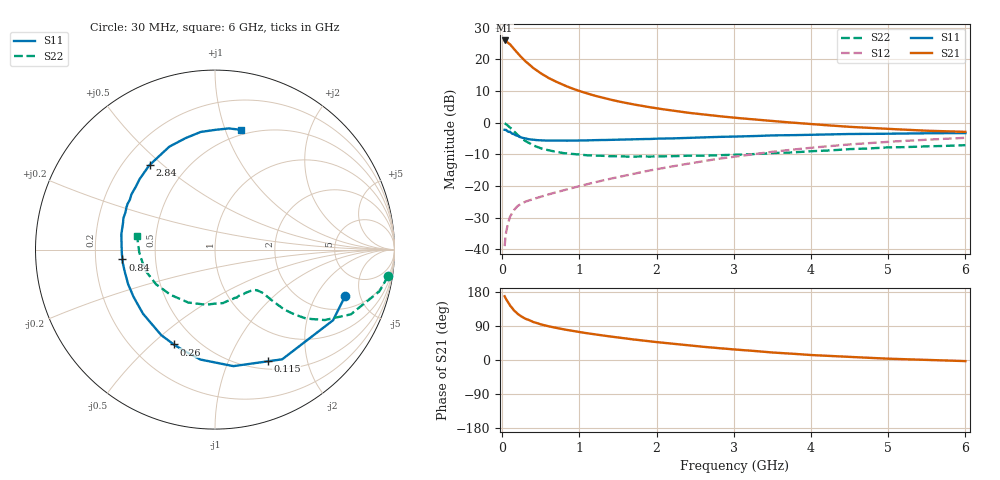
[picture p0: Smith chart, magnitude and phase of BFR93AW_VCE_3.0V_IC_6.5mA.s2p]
! Infineon Technologies  Discrete & RF Semiconductors
! BFR93AW
! VCE =  3.0 V,  IC =  6.5 mA
! Common Emitter S-Parameters:  Nov 2015
# GHz  S  MA  R  50
!  f  S11  S21  S12  S22
! GHz  MAG  ANG  MAG  ANG  MAG  ANG  MAG  ANG
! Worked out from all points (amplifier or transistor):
!   206 points, 30 MHz to 6 GHz, reference 50 ohm
!   highest |S21| = 25.9 dB at 30 MHz (marker M1)
!   |S21| within 3 dB of that: start of sweep to 162.9 MHz
!   unconditionally stable (mu >= 1): 867.4 MHz to 2.332 GHz
!   at 200 MHz: K = 0.37, MSG = 24.1 dB, |S12| = -26.3 dB
!   at 1.56 GHz: K = 1.08, MAG = 9.9 dB, |S12| = -16.9 dB
!   at 6 GHz: K = 0.94, MSG = 0.9 dB, |S12| = -4.8 dB
!   S11 on the Smith chart (normalised r, x): 30 MHz: 2.85, -3.63; 115 MHz: 0.59, -1.40; 260 MHz: 0.37, -0.59; 840 MHz: 0.32, -0.05; 2.84 GHz: 0.31, +0.46; 6 GHz: 0.45, +1.14
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0.03  0.7699 -19.7  19.79 168.2  0.0112 77.9  0.976 -8.7
0.05  0.7666 -30.9  19.39 160.2  0.0188 74.3  0.9444 -14.3
0.1  0.7168 -58.5  17.24 143.7  0.0326 63.0  0.8386 -25.5
0.115  0.6881 -64.8  16.36 140.3  0.0351 60.5  0.8038 -27.4
0.15  0.6573 -81.0  14.6 130.9  0.0414 55.8  0.7267 -32.7
0.2  0.6179 -97.6  12.44 121.6  0.0483 50.9  0.6366 -37.1
0.24  0.586 -108.5  10.99 115.9  0.0517 48.9  0.5775 -39.0
0.26  0.5762 -113.5  10.37 113.3  0.0533 48.2  0.5525 -39.7
0.3  0.5627 -122.2  9.275 108.8  0.0565 47.3  0.5116 -40.8
0.4  0.5372 -138.3  7.279 100.3  0.062 47.4  0.4378 -41.6
0.5  0.5247 -150.0  5.987 93.9  0.0676 48.4  0.3919 -42.0
0.6  0.5209 -158.3  5.06 88.9  0.0736 50.4  0.3645 -42.1
0.7  0.5179 -165.7  4.402 84.6  0.0795 52.1  0.3454 -42.8
0.84  0.5189 -173.9  3.713 79.3  0.0886 55.1  0.3256 -44.2
1.04  0.5213 176.8  3.037 72.5  0.102 57.9  0.3096 -47.1
1.5  0.5395 161.0  2.163 59.4  0.1379 62.2  0.2946 -57.2
2.02  0.5583 146.1  1.665 46.8  0.1856 63.2  0.2934 -71.6
2.84  0.5957 127.4  1.251 30.7  0.2722 59.6  0.3059 -95.3
3.1  0.6048 121.8  1.166 26.4  0.3 57.6  0.3129 -103.4
4.1  0.645 103.2  0.927 12.1  0.4106 47.3  0.3566 -137.6
5.1  0.6691 88.5  0.785 2.9  0.5057 35.1  0.4076 -166.7
6  0.683 77.6  0.714 -2.9  0.5749 24.4  0.4402 170.2
